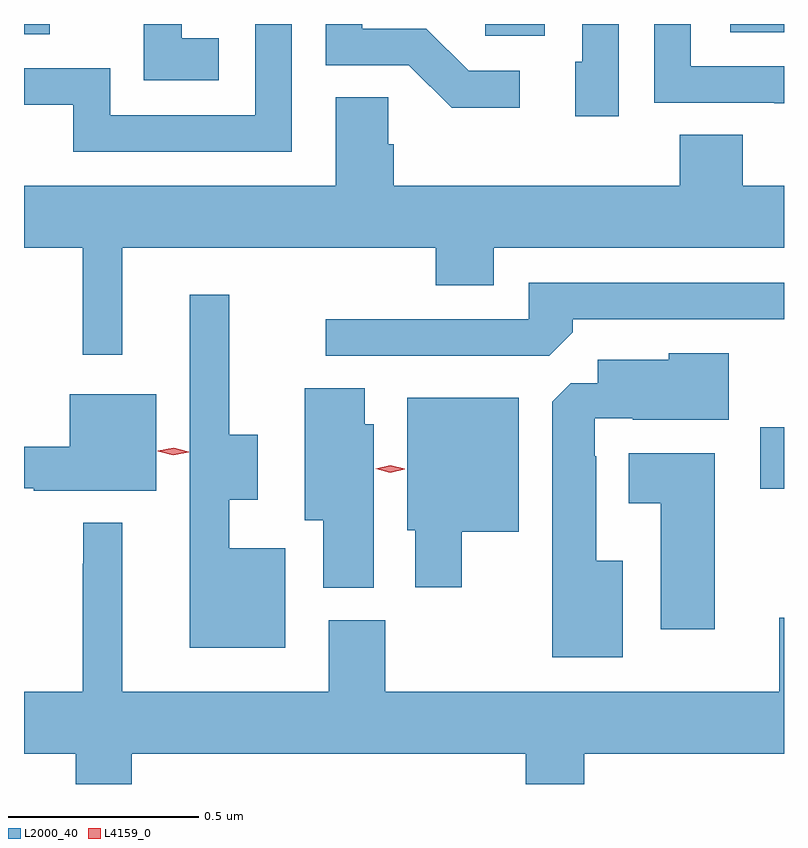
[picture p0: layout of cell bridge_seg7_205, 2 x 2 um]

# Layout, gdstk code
import gdstk
lib = gdstk.Library(unit=1e-6, precision=1e-09)
def R(c, l, rs):  # rectangles x0, y0, x1, y1
    for r in rs: c.add(gdstk.rectangle(r[:2], r[2:], *l))
def P(c, l, *ps):  # polygons
    for p in ps: c.add(gdstk.Polygon(p, *l))
L2000_40 = (2000, 40)
L4159_0 = (4159, 0)

bridge_seg7_205 = lib.new_cell('bridge_seg7_205')
R(bridge_seg7_205, L2000_40, [(119.226,1055.926,119.289,1056.088), (118.503,1057.118,118.66,1057.149), (117.289,1057.122,117.357,1057.149), (119.147,1057.127,119.289,1057.149)])
P(bridge_seg7_205, L2000_40, [(119.289,1057.038),(119.043,1057.038),(119.043,1057.149),(118.947,1057.149),(118.947,1056.942),(119.263,1056.942),(119.263,1056.941),(119.289,1056.941)],
  [(118.854,1057.149),(118.758,1057.149),(118.758,1057.05),(118.739,1057.05),(118.739,1056.906),(118.854,1056.906)],
  [(117.993,1057.149),(117.897,1057.149),(117.897,1056.909),(117.516,1056.909),(117.516,1057.032),(117.289,1057.032),(117.289,1056.936),(117.419,1056.936),(117.419,1056.813),(117.993,1056.813)],
  [(118.594,1057.026),(118.459,1057.026),(118.348,1057.137),(118.179,1057.137),(118.179,1057.149),(118.083,1057.149),(118.083,1057.041),(118.302,1057.041),(118.415,1056.929),(118.594,1056.929)],
  [(117.802,1057.111),(117.704,1057.111),(117.704,1057.149),(117.604,1057.149),(117.604,1057.001),(117.802,1057.001)],
  [(117.547,1056.56),(118.373,1056.56),(118.373,1056.461),(118.525,1056.461),(118.525,1056.56),(119.289,1056.56),(119.289,1056.724),(119.18,1056.724),(119.18,1056.857),(119.015,1056.857),(119.015,1056.724),(118.262,1056.724),(118.262,1056.833),(118.248,1056.833),(118.248,1056.956),(118.109,1056.956),(118.109,1056.724),(117.289,1056.724),(117.289,1056.56),(117.443,1056.56),(117.443,1056.279),(117.547,1056.279)],
  [(118.733,1056.338),(118.733,1056.372),(119.289,1056.372),(119.289,1056.468),(118.617,1056.468),(118.617,1056.372),(118.083,1056.372),(118.083,1056.276),(118.671,1056.276)],
  [(117.976,1055.77),(117.829,1055.77),(117.829,1055.897),(117.904,1055.897),(117.904,1056.068),(117.829,1056.068),(117.829,1056.436),(117.725,1056.436),(117.725,1055.507),(117.976,1055.507)],
  [(118.864,1055.737),(118.795,1055.737),(118.795,1056.011),(118.791,1056.011),(118.791,1056.111),(118.891,1056.111),(118.891,1056.107),(119.143,1056.107),(119.143,1056.283),(118.986,1056.283),(118.986,1056.265),(118.799,1056.265),(118.799,1056.204),(118.728,1056.204),(118.679,1056.155),(118.679,1055.483),(118.864,1055.483)],
  [(118.21,1056.096),(118.186,1056.096),(118.186,1056.191),(118.028,1056.191),(118.028,1055.843),(118.076,1055.843),(118.076,1055.665),(118.21,1055.665)],
  [(117.637,1056.175),(117.41,1056.175),(117.41,1056.037),(117.289,1056.037),(117.289,1055.927),(117.314,1055.927),(117.314,1055.921),(117.637,1055.921)],
  [(118.441,1055.813),(118.591,1055.813),(118.591,1056.166),(118.298,1056.166),(118.298,1055.817),(118.319,1055.817),(118.319,1055.667),(118.441,1055.667)],
  [(119.107,1056.019),(118.88,1056.019),(118.88,1055.888),(118.964,1055.888),(118.964,1055.556),(119.107,1055.556)],
  [(117.573,1055.228),(118.61,1055.228),(118.61,1055.149),(118.763,1055.149),(118.763,1055.228),(119.289,1055.228),(119.289,1055.587),(119.276,1055.587),(119.276,1055.392),(118.239,1055.392),(118.239,1055.58),(118.091,1055.58),(118.091,1055.392),(117.547,1055.392),(117.547,1055.836),(117.445,1055.836),(117.445,1055.729),(117.443,1055.729),(117.443,1055.392),(117.289,1055.392),(117.289,1055.228),(117.425,1055.228),(117.425,1055.149),(117.573,1055.149)])
P(bridge_seg7_205, L4159_0, [(118.253,1055.968),(118.214,1055.978),(118.214,1055.979),(118.214,1055.979),(118.253,1055.988),(118.291,1055.978),(118.291,1055.977),(118.291,1055.977)],
  [(117.682,1056.014),(117.641,1056.025),(117.641,1056.026),(117.641,1056.026),(117.683,1056.034),(117.723,1056.023),(117.723,1056.022),(117.723,1056.022)])

lib.write_gds('bridge_seg7_205.gds')
